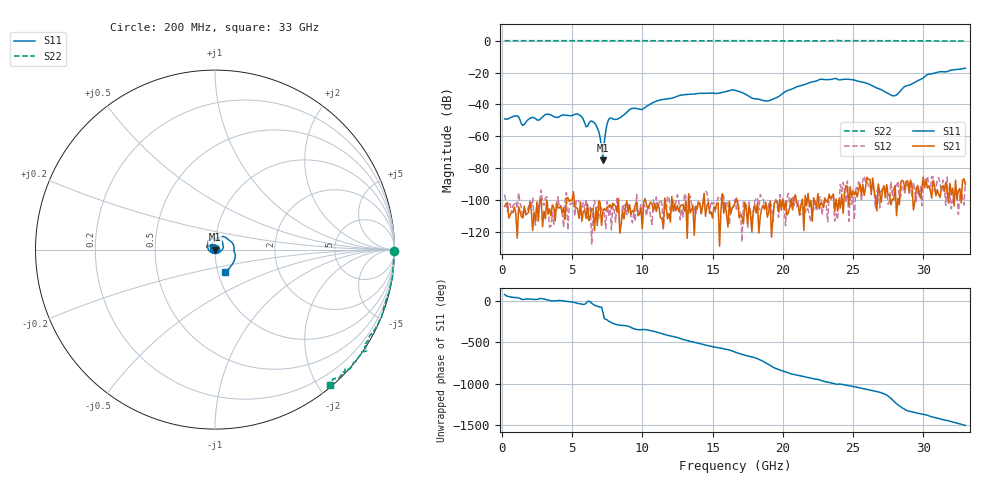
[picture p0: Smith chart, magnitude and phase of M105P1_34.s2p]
# GHZ S RI R 50
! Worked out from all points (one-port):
!   329 points, 200 MHz to 33 GHz, reference 50 ohm
!   lowest |S11| = -75.1 dB at 7.2 GHz (marker M1), VSWR 1.00, Z = 50 - j0.0117 ohm
!   |S11| at or under -10 dB: start of sweep to end of sweep
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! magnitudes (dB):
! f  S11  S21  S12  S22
! 200 MHz  -49.0  -103.9  -96.5  0.0
! 1.1 GHz  -47.1  -123.8  -105.2  0.0
! 1.5 GHz  -53.2  -111.0  -111.6  0.0
! 3.2 GHz  -46.1  -99.9  -97.8  0.0
! 5.7 GHz  -47.8  -113.2  -104.4  0.0
! 6 GHz  -54.0  -111.4  -99.3  0.0
! 6.4 GHz  -50.4  -105.3  -127.9  0.0
! 6.7 GHz  -52.8  -105.0  -105.5  0.0
! 7 GHz  -60.8  -101.2  -102.6  0.0
! 7.2 GHz  -75.1  -107.1  -105.9  0.0
! 7.3 GHz  -63.3  -105.3  -108.8  0.0
! 7.4 GHz  -56.6  -106.4  -117.8  0.0
! 7.7 GHz  -48.5  -103.0  -102.9  0.0
! 11.2 GHz  -37.4  -105.3  -102.0  0.0
! 16.6 GHz  -31.1  -101.8  -99.7  0.0
! 18.9 GHz  -37.8  -110.7  -106.7  -0.1
! 22.1 GHz  -25.8  -113.3  -106.3  -0.1
! 25 GHz  -24.5  -94.1  -98.3  0.0
! 27.6 GHz  -33.6  -97.1  -100.6  0.0
! 28.1 GHz  -34.0  -109.7  -90.9  0.0
! 30.3 GHz  -21.2  -92.4  -85.0  0.0
! 33 GHz  -17.3  -90.3  -88.3  -0.1
